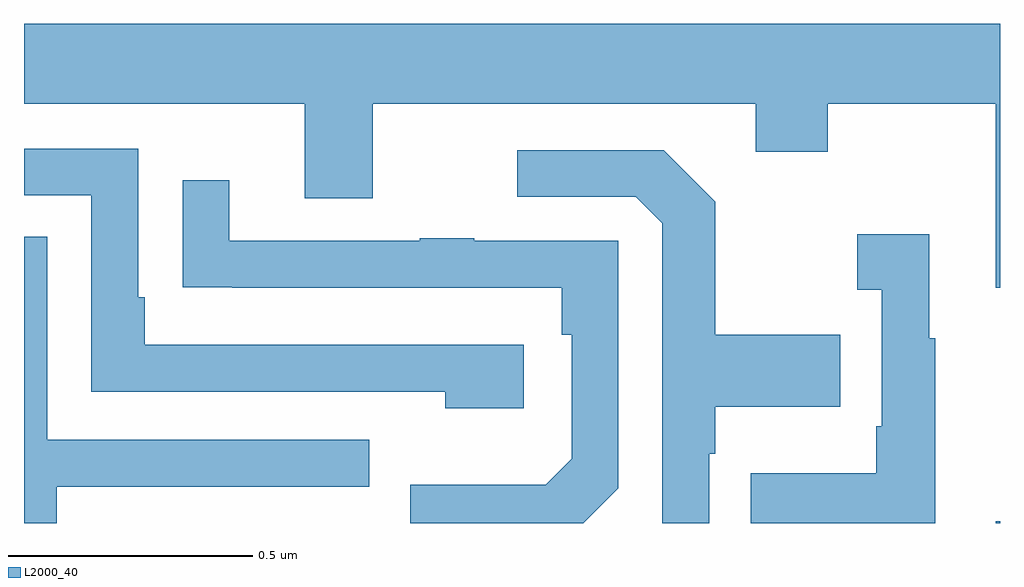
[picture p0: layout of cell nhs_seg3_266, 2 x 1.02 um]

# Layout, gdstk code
import gdstk
lib = gdstk.Library(unit=1e-6, precision=1e-09)
def R(c, l, rs):  # rectangles x0, y0, x1, y1
    for r in rs: c.add(gdstk.rectangle(r[:2], r[2:], *l))
def P(c, l, *ps):  # polygons
    for p in ps: c.add(gdstk.Polygon(p, *l))
L2000_40 = (2000, 40)

nhs_seg3_266 = lib.new_cell('nhs_seg3_266')
R(nhs_seg3_266, L2000_40, [(115.991,689.4,116,689.404)])
P(nhs_seg3_266, L2000_40, [(116,690.424),(114,690.424),(114,690.26),(114.575,690.26),(114.575,690.066),(114.715,690.066),(114.715,690.26),(115.499,690.26),(115.499,690.161),(115.647,690.161),(115.647,690.26),(115.991,690.26),(115.991,689.883),(116,689.883)],
  [(115.024,689.766),(114.247,689.766),(114.247,689.863),(114.234,689.863),(114.234,690.168),(114,690.168),(114,690.072),(114.138,690.072),(114.138,689.67),(114.863,689.67),(114.863,689.636),(115.024,689.636)],
  [(115.404,689.543),(115.417,689.543),(115.417,689.639),(115.673,689.639),(115.673,689.787),(115.417,689.787),(115.417,690.059),(115.311,690.165),(115.011,690.165),(115.011,690.069),(115.254,690.069),(115.308,690.015),(115.308,689.4),(115.404,689.4)],
  [(115.218,689.472),(115.218,689.979),(114.923,689.979),(114.923,689.984),(114.811,689.984),(114.811,689.979),(114.421,689.979),(114.421,690.103),(114.325,690.103),(114.325,689.884),(114.427,689.884),(114.427,689.883),(115.102,689.883),(115.102,689.786),(115.122,689.786),(115.122,689.532),(115.069,689.479),(114.792,689.479),(114.792,689.4),(115.146,689.4)],
  [(115.867,689.779),(115.855,689.779),(115.855,689.992),(115.707,689.992),(115.707,689.879),(115.758,689.879),(115.758,689.599),(115.746,689.599),(115.746,689.503),(115.489,689.503),(115.489,689.4),(115.867,689.4)],
  [(114.067,689.475),(114.707,689.475),(114.707,689.571),(114.048,689.571),(114.048,689.987),(114,689.987),(114,689.4),(114.067,689.4)])

lib.write_gds('nhs_seg3_266.gds')
